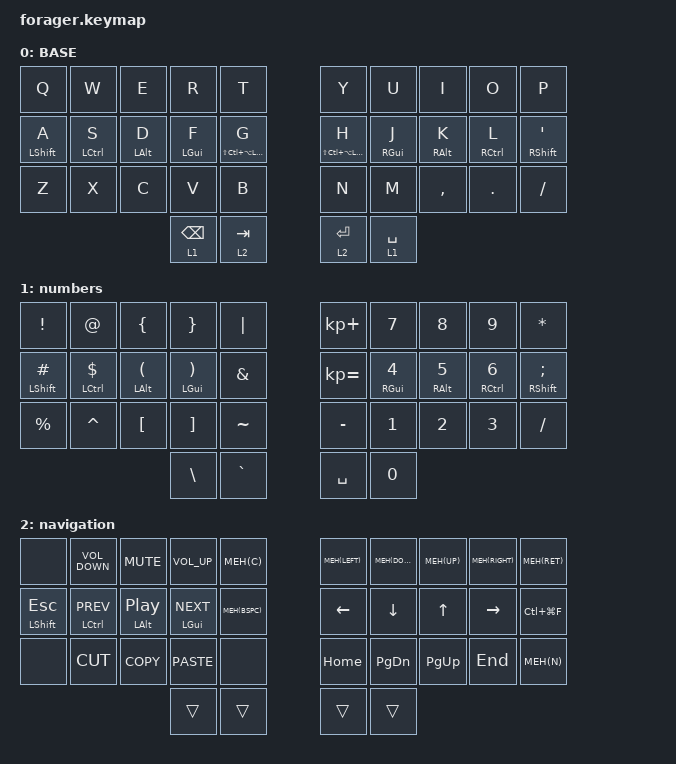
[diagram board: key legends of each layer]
/*
 * Copyright (c) 2020 The ZMK Contributors
 *
 * SPDX-License-Identifier: MIT
 */
//
//   Miryoku-style layout — QWERTY base, vim arrows (HJKL), GACS home row mods.
//   Adapted from the Corne (42-key) config to the Forager (34-key).
//   urob-inspired: timeless positional HRM, punctuation morphs, smart num.
//
//   Layer 0: BASE  — QWERTY + home row mods
//   Layer 1: NAV   — vim arrows, clipboard, nav      (hold left SPACE thumb)
//   Layer 2: NUM   — numpad on left hand    (hold right BSPC thumb; J+K latches)
//   Layer 3: SYM   — symbols on left hand            (hold right RET thumb)
//   Layer 4: ADJ   — BT, output, studio, vol, reset  (hold left TAB thumb)
//
//   A rendered diagram of this keymap lives at keymap-drawer/forager.svg
//   (auto-generated by the "Draw keymap" workflow).

#include <behaviors.dtsi>
#include <dt-bindings/zmk/keys.h>

#define BASE 0
#define NAV  1
#define NUM  2
#define SYM  3
#define ADJ  4

// Hyper (⌃⌥⇧⌘) for app hotkeys: hold G (right-hand keys) or H (left-hand keys).
// Meh (⌃⌥⇧) for window hotkeys on the navigation layer, bound in Raycast's
// Window Management: arrows = halves, RET = maximize, C = center,
// BSPC = restore, N = next display.
#define HYPER LS(LC(LA(LGUI)))
#define MEH(k) LS(LC(LA(k)))

// Forager key positions (34 keys):
// Row 0:  0  1  2  3  4     5  6  7  8  9
// Row 1: 10 11 12 13 14    15 16 17 18 19
// Row 2: 20 21 22 23 24    25 26 27 28 29
// Thumb:        30 31      32 33

#define KEYS_L 0 1 2 3 4 10 11 12 13 14 20 21 22 23 24
#define KEYS_R 5 6 7 8 9 15 16 17 18 19 25 26 27 28 29
#define THUMBS 30 31 32 33

&lt {
    flavor = "balanced";
    tapping-term-ms = <200>;
    quick-tap-ms = <175>;
};

/ {
    behaviors {
        // -- Timeless positional home row mods (urob-style) --
        // balanced + require-prior-idle + cross-hand-only trigger positions.

        hml: home_row_mod_left {
            compatible = "zmk,behavior-hold-tap";
            #binding-cells = <2>;
            flavor = "balanced";
            tapping-term-ms = <280>;
            quick-tap-ms = <175>;
            require-prior-idle-ms = <150>;
            bindings = <&kp>, <&kp>;

            hold-trigger-key-positions = <KEYS_R THUMBS>;
            hold-trigger-on-release;
        };

        hmr: home_row_mod_right {
            compatible = "zmk,behavior-hold-tap";
            #binding-cells = <2>;
            flavor = "balanced";
            tapping-term-ms = <280>;
            quick-tap-ms = <175>;
            require-prior-idle-ms = <150>;
            bindings = <&kp>, <&kp>;

            hold-trigger-key-positions = <KEYS_L THUMBS>;
            hold-trigger-on-release;
        };

        // -- Punctuation mod-morphs (urob-style) --
        // ,  -> shift: ;   ctrl+shift: <
        // .  -> shift: :   ctrl+shift: >

        comma_morph: comma_morph {
            compatible = "zmk,behavior-mod-morph";
            #binding-cells = <0>;
            bindings = <&kp COMMA>, <&comma_inner_morph>;

            mods = <(MOD_LSFT|MOD_RSFT)>;
        };

        comma_inner_morph: comma_inner_morph {
            compatible = "zmk,behavior-mod-morph";
            #binding-cells = <0>;
            bindings = <&kp SEMICOLON>, <&kp LESS_THAN>;

            mods = <(MOD_LCTL|MOD_RCTL)>;
        };

        dot_morph: dot_morph {
            compatible = "zmk,behavior-mod-morph";
            #binding-cells = <0>;
            bindings = <&kp DOT>, <&dot_inner_morph>;

            mods = <(MOD_LSFT|MOD_RSFT)>;
        };

        dot_inner_morph: dot_inner_morph {
            compatible = "zmk,behavior-mod-morph";
            #binding-cells = <0>;
            bindings = <&kp COLON>, <&kp GREATER_THAN>;

            mods = <(MOD_LCTL|MOD_RCTL)>;
        };

        // -- Num-word (urob-style, needs zmk-auto-layer module) --
        // Latches the NUM layer until a non-number key is pressed.
        // Triggered by the J+K combo so the R-outer thumb keeps an
        // instant, hold-to-repeat Backspace (&lt NUM BSPC).

        num_word: num_word {
            compatible = "zmk,behavior-auto-layer";
            #binding-cells = <1>;
            continue-list = <N0 N1 N2 N3 N4 N5 N6 N7 N8 N9 DOT COMMA MINUS PLUS ASTERISK SLASH EQUAL BSPC DEL>;
            ignore-modifiers;
        };
    };

    combos {
        compatible = "zmk,combos";

        // -- From old Forager config --

        combo_esc {
            bindings = <&kp ESC>;
            key-positions = <16 17>;          // Q + W
            layers = <0>;
            timeout-ms = <30>;
            require-prior-idle-ms = <150>;
        };

        // -- Tier 1: Essential (from Corne) --

        combo_caps_word {
            bindings = <&caps_word>;
            key-positions = <13 16>;        // F + J (index home row)
            layers = <0>;
            timeout-ms = <30>;
            require-prior-idle-ms = <150>;
        };

        // -- Tier 2: High Value (from Corne) --

        combo_copy {
            bindings = <&kp LG(C)>;
            key-positions = <21 22>;        // X + C
            layers = <0>;
            timeout-ms = <30>;
            require-prior-idle-ms = <150>;
        };

        combo_paste {
            bindings = <&kp LG(V)>;
            key-positions = <22 23>;        // C + V
            layers = <0>;
            timeout-ms = <30>;
            require-prior-idle-ms = <150>;
        };

        combo_cut {
            bindings = <&kp LG(X)>;
            key-positions = <21 23>;        // X + V (skip middle)
            layers = <0>;
            timeout-ms = <30>;
            require-prior-idle-ms = <150>;
        };

        // -- Tier 3: Vertical Symbol Combos (from Corne) --

        combo_underscore {
            bindings = <&kp UNDER>;
            key-positions = <15 25>;        // H + N (right inner vertical)
            layers = <0>;
            timeout-ms = <40>;
            require-prior-idle-ms = <100>;
        };
    };

    keymap {
        compatible = "zmk,keymap";

        base_layer {
            display-name = "BASE";
            bindings = <
  &kp Q          &kp W         &kp E        &kp R            &kp T          &kp Y          &kp U             &kp I        &kp O         &kp P
  &hml LSHIFT A  &hml LCTRL S  &hml LALT D  &hml LGUI F      &hml HYPER G   &hmr HYPER H   &hmr RIGHT_GUI J  &hmr RALT K  &hmr RCTRL L  &hmr RSHIFT SINGLE_QUOTE
  &kp Z          &kp X         &kp C        &kp V            &kp B          &kp N          &kp M             &kp COMMA    &kp DOT       &kp FSLH
                                            &lt 1 BACKSPACE  &lt 2 TAB      &lt 2 RET      &lt 1 SPACE
            >;
        };

        numbers {
            display-name = "numbers";
            bindings = <
  &kp EXCL          &kp AT             &kp LEFT_BRACE              &kp RIGHT_BRACE              &kp PIPE         &kp KP_PLUS   &kp N7              &kp N8        &kp N9               &kp ASTRK
  &hml LSHIFT HASH  &hml LCTRL DOLLAR  &hml LALT LEFT_PARENTHESIS  &hml LGUI RIGHT_PARENTHESIS  &kp AMPERSAND    &kp KP_EQUAL  &hmr RGUI NUMBER_4  &hmr RALT N5  &hmr RCTRL NUMBER_6  &hmr RSHIFT SEMI
  &kp PERCENT       &kp CARET          &kp LEFT_BRACKET            &kp RIGHT_BRACKET            &kp TILDE        &kp MINUS     &kp NUMBER_1        &kp NUMBER_2  &kp NUMBER_3         &kp SLASH
                                                                   &kp BACKSLASH                &kp GRAVE        &kp SPACE     &kp N0
            >;
        };

        navigation {
            display-name = "navigation";
            bindings = <
  &none               &kp C_VOLUME_DOWN  &kp C_MUTE          &kp C_VOLUME_UP   &kp MEH(C)     &kp MEH(LEFT)   &kp MEH(DOWN)  &kp MEH(UP)   &kp MEH(RIGHT)  &kp MEH(RET)
  &hml LSHIFT ESCAPE  &hml LCTRL C_PREV  &hml LALT C_PP      &hml LGUI C_NEXT  &kp MEH(BSPC)  &kp LEFT_ARROW  &kp DOWN       &kp UP_ARROW  &kp RIGHT       &kp LC(LG(F))
  &none               &kp K_CUT          &kp K_COPY          &kp K_PASTE       &none          &kp HOME        &kp PAGE_DOWN  &kp PAGE_UP   &kp END         &kp MEH(N)
                                                             &trans            &trans         &trans          &trans
            >;
        };
    };
};
